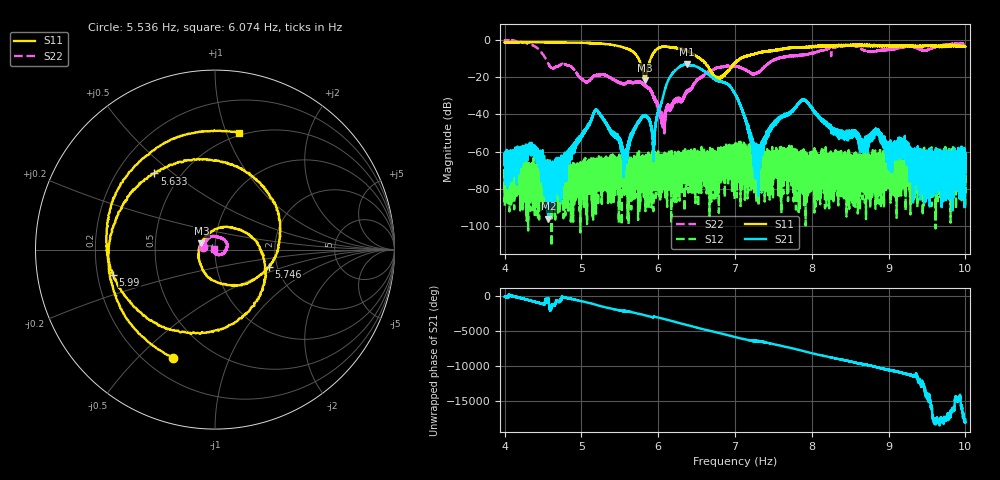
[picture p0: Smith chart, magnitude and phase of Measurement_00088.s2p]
!Created with skrf (http://scikit-rf.org).
# Hz S RI R 50.0
!freq ReS11 ImS11 ReS21 ImS21 ReS12 ImS12 ReS22 ImS22
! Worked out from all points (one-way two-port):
!   14001 points, 4 Hz to 10 Hz, reference 50 ohm
!   highest |S21| = -13.04 dB at 6.369 Hz (marker M1); lowest = -96.1 dB at 4.57 Hz (marker M2)
!   lowest |S11| = -21.6 dB at 5.829 Hz (marker M3), VSWR 1.18, Z = 42.9 + j3.01 ohm
!   |S11| at or under -10 dB: 5.745 Hz to 5.9 Hz (155.1 mHz wide, 2.66 % of centre); 6.542 Hz to 7.069 Hz (527.3 mHz wide, 7.75 % of centre); 7.070547 Hz to 7.071336 Hz (789.1 uHz wide, 0.0112 % of centre) (the widest 3 of 5)
!   |S22| runs from -50.2 to -0.2 dB; largest |S21 - S12| = 0.22
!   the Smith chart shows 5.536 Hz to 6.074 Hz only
!   S11 on the Smith chart (normalised r, x): 5.536 Hz: 0.31, -0.64; 5.633 Hz: 0.36, +0.43; 5.746 Hz: 1.81, -0.38; 5.99 Hz: 0.27, -0.11; 6.074 Hz: 0.48, +1.11
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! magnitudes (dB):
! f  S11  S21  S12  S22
! 4 Hz  -1.1  -64.2  -74.2  -0.2
! 4.348 Hz  -1.1  -55.9  -67.0  -2.5
! 4.57 Hz  -1.2  -96.1  -81.3  -12.7
! 5 Hz  -1.4  -50.6  -72.6  -20.7
! 5.203 Hz  -1.8  -37.9  -74.0  -18.6
! 5.536 Hz  -3.8  -59.7  -71.0  -23.5
! 5.633 Hz  -5.3  -52.5  -75.6  -22.3
! 5.746 Hz  -10.0  -44.2  -70.5  -22.6
! 5.829 Hz  -21.6  -40.9  -70.8  -24.5
! 5.934 Hz  -7.2  -55.8  -65.8  -30.4
! 5.99 Hz  -4.7  -40.0  -70.4  -35.1
! 6 Hz  -4.4  -38.5  -64.8  -35.3
! 6.074 Hz  -3.6  -28.6  -68.1  -42.9
! 6.369 Hz  -5.7  -13.0  -64.8  -27.6
! 6.768 Hz  -20.2  -21.9  -62.9  -14.8
! 7 Hz  -12.3  -29.0  -62.1  -14.0
! 7.284 Hz  -7.1  -67.2  -74.0  -17.9
! 7.567 Hz  -5.2  -42.4  -63.3  -9.8
! 8 Hz  -3.7  -36.6  -65.3  -6.9
! 8.851 Hz  -3.1  -49.4  -67.3  -5.7
! 9 Hz  -3.3  -57.7  -70.4  -5.0
! 10 Hz  -3.6  -64.1  -64.8  -3.1
